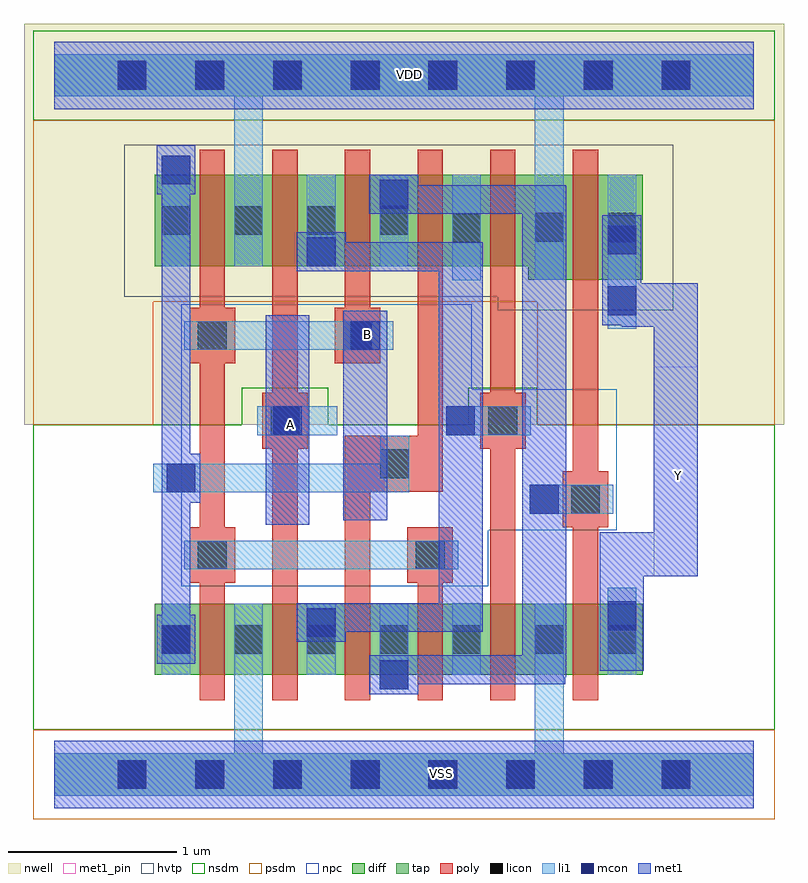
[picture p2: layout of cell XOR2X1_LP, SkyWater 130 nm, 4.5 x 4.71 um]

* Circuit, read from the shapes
.subckt XOR2X1_LP A B VDD VSS Y
XM1 VSS B n1 VSS sky130_fd_pr__nfet_01v8 w=0.42 l=0.15
XM2 n2 A VSS VSS sky130_fd_pr__nfet_01v8 w=0.42 l=0.15
XM3 n3 n1 n2 VSS sky130_fd_pr__nfet_01v8 w=0.42 l=0.15
XM4 n4 B n3 VSS sky130_fd_pr__nfet_01v8 w=0.42 l=0.15
XM5 VSS n2 n4 VSS sky130_fd_pr__nfet_01v8 w=0.42 l=0.15
XM6 Y n3 VSS VSS sky130_fd_pr__nfet_01v8 w=0.42 l=0.15
XM7 VDD B n1 VDD sky130_fd_pr__pfet_01v8_hvt w=0.54 l=0.15
XM8 n2 A VDD VDD sky130_fd_pr__pfet_01v8_hvt w=0.54 l=0.15
XM9 n3 B n2 VDD sky130_fd_pr__pfet_01v8_hvt w=0.54 l=0.15
XM10 n5 n1 n3 VDD sky130_fd_pr__pfet_01v8_hvt w=0.54 l=0.15
XM11 VDD n2 n5 VDD sky130_fd_pr__pfet_01v8_hvt w=0.54 l=0.15
XM12 Y n3 VDD VDD sky130_fd_pr__pfet_01v8_hvt w=0.62 l=0.15
.ends

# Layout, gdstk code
from math import pi, radians
import gdstk
lib = gdstk.Library(unit=1e-6, precision=1e-09)
def R(c, l, rs):  # rectangles x0, y0, x1, y1
    for r in rs: c.add(gdstk.rectangle(r[:2], r[2:], *l))
def A(c, l, x, y, w, h, nx, ny, dx, dy):  # array of equal rectangles
    R(c, l, [(x+i*dx, y+j*dy, x+i*dx+w, y+j*dy+h) for i in range(nx) for j in range(ny)])
def P(c, l, *ps):  # polygons
    for p in ps: c.add(gdstk.Polygon(p, *l))
nwell = (64, 20)
diff = (65, 20)
tap = (65, 44)
poly = (66, 20)
licon = (66, 44)
li1 = (67, 20)
mcon = (67, 44)
met1_pin = (68, 16)
met1 = (68, 20)
hvtp = (78, 44)
nsdm = (93, 44)
psdm = (94, 20)
npc = (95, 20)

l1m1_c_cdns_758729379658 = lib.new_cell('L1M1_C_CDNS_758729379658')
R(l1m1_c_cdns_758729379658, li1, [(-0.085,-0.165,0.085,0.085)])
R(l1m1_c_cdns_758729379658, mcon, [(-0.085,-0.085,0.085,0.085)])
R(l1m1_c_cdns_758729379658, met1, [(-0.115,-0.145,0.115,0.145)])

l1m1_c_cdns_758729379659 = lib.new_cell('L1M1_C_CDNS_758729379659')
R(l1m1_c_cdns_758729379659, li1, [(-0.085,-0.345,0.085,0.345)])
R(l1m1_c_cdns_758729379659, mcon, [(-0.085,-0.265,0.085,-0.095), (-0.085,0.095,0.085,0.265)])
R(l1m1_c_cdns_758729379659, met1, [(-0.115,-0.325,0.115,0.325)])

l1m1_c_cdns_758729379655 = lib.new_cell('L1M1_C_CDNS_758729379655')
R(l1m1_c_cdns_758729379655, li1, [(-0.085,-0.165,0.085,0.165)])
R(l1m1_c_cdns_758729379655, mcon, [(-0.085,-0.085,0.085,0.085)])
R(l1m1_c_cdns_758729379655, met1, [(-0.115,-0.145,0.115,0.145)])

pyl1con_c_cdns_758729379 = lib.new_cell('PYL1CON_C_CDNS_758729379653')
R(pyl1con_c_cdns_758729379, poly, [(-0.135,-0.165,0.135,0.165)])
R(pyl1con_c_cdns_758729379, licon, [(-0.085,-0.085,0.085,0.085)])
R(pyl1con_c_cdns_758729379, npc, [(-0.185,-0.185,0.185,0.185)])

l1m1_c_cdns_758729379654 = lib.new_cell('L1M1_C_CDNS_758729379654')
R(l1m1_c_cdns_758729379654, li1, [(-0.165,-0.085,0.165,0.085)])
R(l1m1_c_cdns_758729379654, mcon, [(-0.085,-0.085,0.085,0.085)])
R(l1m1_c_cdns_758729379654, met1, [(-0.115,-0.145,0.115,0.145)])

licondiff_c_cdns_7587293 = lib.new_cell('LICONDIFF_C_CDNS_758729379657')
R(licondiff_c_cdns_7587293, diff, [(-0.125,-0.145,0.125,0.145)])
R(licondiff_c_cdns_7587293, licon, [(-0.085,-0.085,0.085,0.085), (-0.085,-0.085,0.085,0.085)])

l1m1_c_cdns_758729379656 = lib.new_cell('L1M1_C_CDNS_758729379656')
R(l1m1_c_cdns_758729379656, li1, [(-0.085,-0.085,0.085,0.085)])
R(l1m1_c_cdns_758729379656, mcon, [(-0.085,-0.085,0.085,0.085)])
R(l1m1_c_cdns_758729379656, met1, [(-0.145,-0.115,0.145,0.115)])

l1m1_c_cdns_758729379651 = lib.new_cell('L1M1_C_CDNS_7587293796511')
R(l1m1_c_cdns_758729379651, li1, [(-0.085,-0.165,0.085,0.085)])
R(l1m1_c_cdns_758729379651, mcon, [(-0.085,-0.085,0.085,0.085)])
R(l1m1_c_cdns_758729379651, met1, [(-0.115,-0.13,0.115,0.13)])

xor2x1_lp = lib.new_cell('XOR2X1_LP')
R(xor2x1_lp, nwell, [(-0.18,2.07,4.32,4.445)])
R(xor2x1_lp, diff, [(0.595,0.59,3.485,1.01)])
P(xor2x1_lp, diff, [(3.485,3.55),(0.595,3.55),(0.595,3.01),(2.805,3.01),(2.805,2.93),(3.485,2.93)])
R(xor2x1_lp, poly, [(0.86,0.44,1.01,1.16), (1.29,0.44,1.44,3.7), (2.15,0.44,2.3,1.16), (2.58,0.44,2.73,3.7), (3.07,0.44,3.22,3.7), (0.86,1.165,1.01,3.7), (1.72,2.6,1.87,3.7)])
P(xor2x1_lp, poly, [(2.3,3.7),(2.15,3.7),(2.15,2.005),(1.72,2.005),(1.72,0.44),(1.87,0.44),(1.87,1.675),(2.3,1.675)])
A(xor2x1_lp, licon, 0.375, -0.085, 0.17, 0.17, 8, 2, 0.46, 4.14)
A(xor2x1_lp, licon, 0.635, 0.715, 0.17, 0.17, 4, 2, 0.43, 2.48)
R(xor2x1_lp, licon, [(2.845,0.715,3.015,0.885), (3.275,0.715,3.445,0.885), (2.845,3.155,3.015,3.325), (3.275,3.155,3.445,3.325)])
R(xor2x1_lp, li1, [(0.635,0.59,0.805,1.01), (1.495,0.59,1.665,1.01), (1.925,0.59,2.095,1.01), (3.275,0.59,3.445,1.01), (3.275,2.93,3.445,3.55), (0.635,3.01,0.805,3.55), (1.495,3.01,1.665,3.55), (1.925,3.01,2.095,3.55)])
P(xor2x1_lp, li1, [(2.1,2.005),(1.93,2.005),(1.93,1.84),(0.71,1.84),(0.71,1.67),(2.1,1.67)],
  [(4.14,4.265),(0,4.265),(0,4.015),(1.065,4.015),(1.065,3.01),(1.235,3.01),(1.235,4.015),(2.845,4.015),(2.845,2.93),(3.015,2.93),(3.015,4.015),(4.14,4.015)],
  [(4.14,0.125),(3.015,0.125),(3.015,1.01),(2.845,1.01),(2.845,0.125),(1.235,0.125),(1.235,1.01),(1.065,1.01),(1.065,0.125),(0,0.125),(0,-0.125),(4.14,-0.125)])
A(xor2x1_lp, mcon, 0.375, -0.085, 0.17, 0.17, 8, 2, 0.46, 4.14)
R(xor2x1_lp, met1_pin, [(3.55,1.175,3.81,2.415), (1.25,1.48,1.51,2.72), (1.71,1.505,1.97,2.745)])
P(xor2x1_lp, met1, [(2.535,3.15),(1.435,3.15),(1.435,2.98),(2.275,2.98),(2.275,1.015),(1.58,1.015),(1.58,0.845),(2.535,0.845)],
  [(3.03,3.49),(1.865,3.49),(1.865,3.32),(2.77,3.32),(2.77,0.705),(1.865,0.705),(1.865,0.535),(3.025,0.535),(3.025,0.575),(3.03,0.575)],
  [(3.81,2.91),(3.36,2.91),(3.36,2.65),(3.55,2.65),(3.55,1.435),(3.23,1.435),(3.23,0.615),(3.49,0.615),(3.49,1.175),(3.81,1.175)])
P(xor2x1_lp, hvtp, [(3.665,3.73),(0.415,3.73),(0.415,2.83),(2.625,2.83),(2.625,2.75),(3.665,2.75)])
R(xor2x1_lp, nsdm, [(-0.125,3.875,4.265,4.405)])
P(xor2x1_lp, nsdm, [(4.265,2.07),(2.86,2.07),(2.86,2.29),(2.45,2.29),(2.45,2.07),(1.62,2.07),(1.62,2.29),(1.11,2.29),(1.11,2.07),(-0.125,2.07),(-0.125,0.265),(4.265,0.265)])
R(xor2x1_lp, psdm, [(-0.125,-0.265,4.265,0.265)])
P(xor2x1_lp, psdm, [(4.265,3.875),(-0.125,3.875),(-0.125,2.07),(0.585,2.07),(0.585,2.8),(2.86,2.8),(2.86,2.07),(4.265,2.07)])
P(xor2x1_lp, npc, [(3.33,2.28),(2.47,2.28),(2.47,2.785),(0.75,2.785),(0.75,1.115),(2.57,1.115),(2.57,1.445),(3.33,1.445)])
xor2x1_lp.add(gdstk.FlexPath([(2.225,1.165),(2.225,1.34)], 0.15, ends="flush", simple_path=True, layer=66, datatype=20))  # poly
xor2x1_lp.add(gdstk.FlexPath([(2.895,1.63),(3.31,1.63)], 0.17, ends="flush", simple_path=True, layer=67, datatype=20))  # li1
xor2x1_lp.add(gdstk.FlexPath([(1.675,2.095),(1.2,2.095)], 0.17, ends="flush", simple_path=True, layer=67, datatype=20))  # li1
xor2x1_lp.add(gdstk.FlexPath([(0.77,2.6),(1.96,2.6)], 0.17, ends="flush", simple_path=True, layer=67, datatype=20))  # li1
xor2x1_lp.add(gdstk.FlexPath([(0.77,1.3),(2.39,1.3)], 0.17, ends="flush", simple_path=True, layer=67, datatype=20))  # li1
xor2x1_lp.add(gdstk.FlexPath([(2.405,2.095),(2.82,2.095)], 0.17, ends="flush", simple_path=True, layer=67, datatype=20))  # li1
xor2x1_lp.add(gdstk.FlexPath([(2.44,2.925),(2.44,3.55)], 0.17, ends="flush", simple_path=True, layer=67, datatype=20))  # li1
xor2x1_lp.add(gdstk.FlexPath([(2.44,0.59),(2.44,1.015)], 0.17, ends="flush", simple_path=True, layer=67, datatype=20))  # li1
xor2x1_lp.add(gdstk.FlexPath([(0,0),(4.14,0)], 0.4, ends="flush", simple_path=True, layer=68, datatype=16))  # met1_pin
xor2x1_lp.add(gdstk.FlexPath([(0,4.14),(4.14,4.14)], 0.4, ends="flush", simple_path=True, layer=68, datatype=16))  # met1_pin
xor2x1_lp.add(gdstk.FlexPath([(0,4.14),(4.14,4.14)], 0.25, ends="flush", simple_path=True, layer=65, datatype=44))  # tap
xor2x1_lp.add(gdstk.FlexPath([(0,0),(4.14,0)], 0.25, ends="flush", simple_path=True, layer=65, datatype=44))  # tap
xor2x1_lp.add(gdstk.FlexPath([(0,4.14),(4.14,4.14)], 0.4, ends="flush", simple_path=True, layer=68, datatype=20))  # met1
xor2x1_lp.add(gdstk.FlexPath([(0.72,0.655),(0.72,3.725)], 0.17, ends="flush", simple_path=True, layer=68, datatype=20))  # met1
xor2x1_lp.add(gdstk.FlexPath([(1.38,1.48),(1.38,2.72)], 0.26, ends="flush", simple_path=True, layer=68, datatype=20))  # met1
xor2x1_lp.add(gdstk.FlexPath([(1.84,1.505),(1.84,2.745)], 0.26, ends="flush", simple_path=True, layer=68, datatype=20))  # met1
xor2x1_lp.add(gdstk.FlexPath([(0,0),(4.14,0)], 0.4, ends="flush", simple_path=True, layer=68, datatype=20))  # met1
xor2x1_lp.add(gdstk.Reference(l1m1_c_cdns_758729379658, (0.72,3.58)))
xor2x1_lp.add(gdstk.Reference(l1m1_c_cdns_758729379659, (3.36,2.985)))
xor2x1_lp.add(gdstk.Reference(l1m1_c_cdns_758729379655, (3.36,0.94)))
xor2x1_lp.add(gdstk.Reference(l1m1_c_cdns_758729379655, (0.72,0.8)))
xor2x1_lp.add(gdstk.Reference(pyl1con_c_cdns_758729379, (3.145,1.63), rotation=pi))
xor2x1_lp.add(gdstk.Reference(pyl1con_c_cdns_758729379, (2.655,2.095), rotation=pi))
xor2x1_lp.add(gdstk.Reference(pyl1con_c_cdns_758729379, (1.365,2.095), rotation=pi))
xor2x1_lp.add(gdstk.Reference(pyl1con_c_cdns_758729379, (1.795,2.6), rotation=pi))
xor2x1_lp.add(gdstk.Reference(pyl1con_c_cdns_758729379, (0.935,2.6), rotation=pi))
xor2x1_lp.add(gdstk.Reference(pyl1con_c_cdns_758729379, (2.015,1.84), rotation=pi))
xor2x1_lp.add(gdstk.Reference(pyl1con_c_cdns_758729379, (2.225,1.3), rotation=pi))
xor2x1_lp.add(gdstk.Reference(pyl1con_c_cdns_758729379, (0.935,1.3), rotation=pi))
xor2x1_lp.add(gdstk.Reference(l1m1_c_cdns_758729379654, (1.84,2.6), x_reflection=True))
xor2x1_lp.add(gdstk.Reference(l1m1_c_cdns_758729379654, (1.38,2.095), x_reflection=True))
xor2x1_lp.add(gdstk.Reference(l1m1_c_cdns_758729379654, (0.75,1.755), rotation=pi, x_reflection=True))
xor2x1_lp.add(gdstk.Reference(licondiff_c_cdns_7587293, (2.44,0.8)))
xor2x1_lp.add(gdstk.Reference(licondiff_c_cdns_7587293, (2.44,3.235)))
xor2x1_lp.add(gdstk.Reference(l1m1_c_cdns_758729379656, (2.01,3.435), rotation=pi))
xor2x1_lp.add(gdstk.Reference(l1m1_c_cdns_758729379656, (1.58,0.9), rotation=pi))
xor2x1_lp.add(gdstk.Reference(l1m1_c_cdns_758729379656, (2.01,0.59), rotation=pi))
xor2x1_lp.add(gdstk.Reference(l1m1_c_cdns_758729379656, (1.58,3.095), rotation=pi))
xor2x1_lp.add(gdstk.Reference(l1m1_c_cdns_758729379651, (2.405,2.095), rotation=pi/2))
xor2x1_lp.add(gdstk.Reference(l1m1_c_cdns_758729379651, (2.9,1.63), rotation=pi/2))
xor2x1_lp.add(gdstk.Label('VDD', (2.1,4.145), layer=68, texttype=5))
xor2x1_lp.add(gdstk.Label('B', (1.855,2.605), layer=68, texttype=5))
xor2x1_lp.add(gdstk.Label('Y', (3.695,1.77), layer=68, texttype=5))
xor2x1_lp.add(gdstk.Label('A', (1.395,2.075), layer=68, texttype=5))
xor2x1_lp.add(gdstk.Label('VSS', (2.29,0.005), layer=68, texttype=5))

lib.write_gds('XOR2X1_LP.gds')
